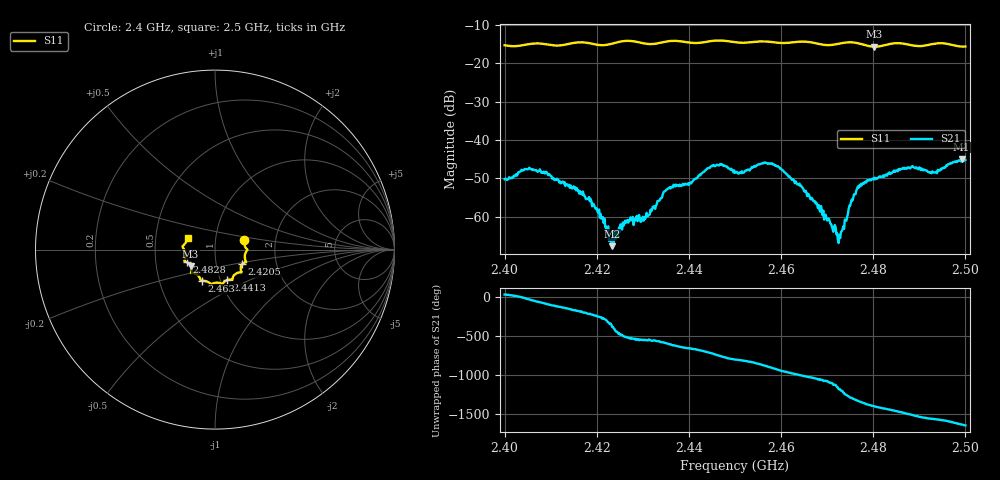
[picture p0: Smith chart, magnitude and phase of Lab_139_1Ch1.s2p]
# Hz S RI R 50
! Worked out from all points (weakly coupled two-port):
!   601 points, 2.4 GHz to 2.5 GHz, reference 50 ohm
!   highest |S21| = -44.94 dB at 2.4992 GHz (marker M1); lowest = -67.7 dB at 2.4233 GHz (marker M2)
!   lowest |S11| = -15.7 dB at 2.4802 GHz (marker M3), VSWR 1.39, Z = 37.5 - j6.98 ohm
!   |S11| at or under -10 dB: start of sweep to end of sweep
!   S12 and S22 are empty: the file has one direction only
!   S11 on the Smith chart (normalised r, x): 2.4 GHz: 1.38, +0.15; 2.4205 GHz: 1.34, -0.22; 2.4413 GHz: 1.08, -0.38; 2.463 GHz: 0.82, -0.29; 2.4828 GHz: 0.72, -0.10; 2.5 GHz: 0.73, +0.10
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2.4e9  0.1627 0.0523  0.0025 0.00182  0 0  0 0
2.405833e9  0.1786 0.00153  0.0033 -0.00253  0 0  0 0
2.416667e9  0.1734 -0.0696  -0.00206 4.56e-05  0 0  0 0
2.4205e9  0.1521 -0.0809  -0.00041 0.00117  0 0  0 0
2.423333e9  0.1432 -0.1081  0.000392 -0.000134  0 0  0 0
2.426167e9  0.1484 -0.1262  -0.00074 -0.000495  0 0  0 0
2.43e9  0.1284 -0.1289  -0.000996 8.55e-05  0 0  0 0
2.433333e9  0.1003 -0.1514  -0.00147 0.000638  0 0  0 0
2.435333e9  0.0976 -0.1655  -0.00136 0.00185  0 0  0 0
2.441333e9  0.0676 -0.1697  0.00188 0.00249  0 0  0 0
2.446333e9  0.0413 -0.193  0.00427 -0.00194  0 0  0 0
2.45e9  0.0246 -0.1857  0.000591 -0.00369  0 0  0 0
2.457833e9  -0.0298 -0.1863  -0.0049 0.000191  0 0  0 0
2.463e9  -0.0721 -0.1737  -0.000254 0.00272  0 0  0 0
2.466667e9  -0.0816 -0.1673  0.00118 0.0013  0 0  0 0
2.4725e9  -0.1225 -0.1301  -9.46e-05 -0.000446  0 0  0 0
2.476833e9  -0.1315 -0.1242  -0.000623 0.00231  0 0  0 0
2.480167e9  -0.1361 -0.0907  0.00229 0.00202  0 0  0 0
2.482833e9  -0.1585 -0.0702  0.00351 0.000366  0 0  0 0
2.483333e9  -0.1625 -0.0684  0.00364 -0.00011  0 0  0 0
2.499167e9  -0.1562 0.052  -0.00549 0.00138  0 0  0 0
2.5e9  -0.1522 0.0638  -0.00489 0.00247  0 0  0 0
